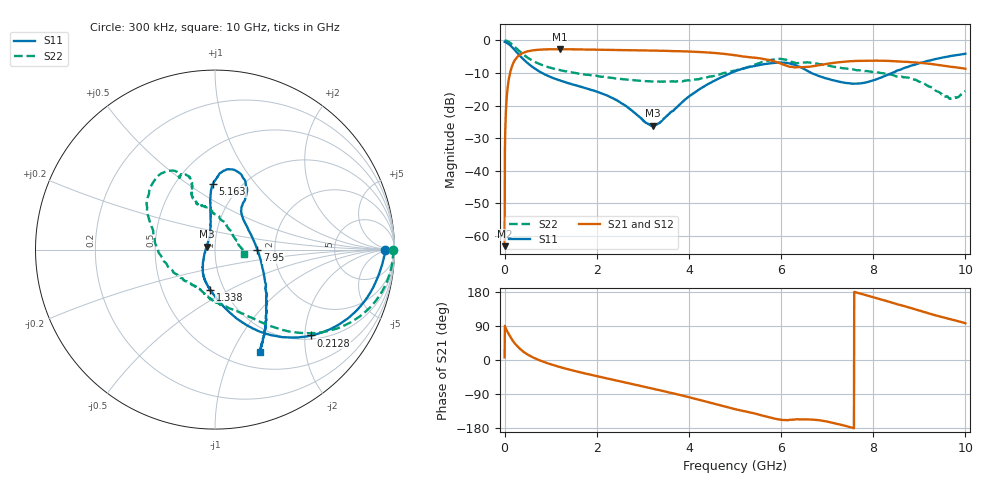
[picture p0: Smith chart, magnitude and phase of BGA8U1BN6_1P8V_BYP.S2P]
!Agilent Technologies,E5071C,MY46316587,B.13.01
!Date: Tue Nov 28 12:50:08 2017
!Data & Calibration Information:
!Freq	S11:SOLT2(ON)	S21:SOLT2(ON)	S12:SOLT2(ON)	S22:SOLT2(ON)
!PortZ  Port1:50+j0  Port2:50+j0
!Above PortZ is port z conversion or system Z0 setting when saving the data.
!When reading, reference impedance value at option line is always used.
# Hz S RI R 50
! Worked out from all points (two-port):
!   1601 points, 300 kHz to 10 GHz, reference 50 ohm
!   highest |S21| = -2.73 dB at 1.2 GHz (marker M1); lowest = -63.1 dB at 300 kHz (marker M2)
!   |S21| within 3 dB of the highest: 239.3 MHz to 5.613 GHz (5.374 GHz wide, 184 % of centre)
!   lowest |S11| = -26.2 dB at 3.225 GHz (marker M3), VSWR 1.10, Z = 45.5 + j1.42 ohm
!   |S11| at or under -10 dB: 810.5 MHz to 4.913 GHz (4.102 GHz wide, 143 % of centre); 6.654 GHz to 8.412 GHz (1.757 GHz wide, 23.3 % of centre)
!   |S22| runs from -18.0 to -0.1 dB; largest |S21 - S12| = 0.0097
!   S11 on the Smith chart (normalised r, x): 300 kHz: 36, -2; 212.8 MHz: 1.09, -2.15; 1.338 GHz: 0.86, -0.40; 5.163 GHz: 0.75, +0.63; 7.95 GHz: 1.62, -0.01; 10 GHz: 0.69, -1.28
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300000  0.9467 -0.00253  0.000696 8.49e-05  -0.000787 0.0019  0.9939 -0.00124
6.279812e7  0.8694 -0.2327  0.0475 0.1719  0.0479 0.1733  0.95 -0.1973
1.190464e8  0.7525 -0.3731  0.148 0.2795  0.1493 0.2819  0.8549 -0.3307
2.127936e8  0.5357 -0.4784  0.3403 0.3433  0.3416 0.3444  0.6674 -0.443
5.565333e8  0.1328 -0.3922  0.6794 0.1264  0.6804 0.1263  0.2912 -0.4188
1.200264e9  -0.0137 -0.2416  0.692 -0.2323  0.6914 -0.2308  0.1002 -0.3351
1.33776e9  -0.0268 -0.2234  0.6694 -0.2868  0.6701 -0.2843  0.0758 -0.3253
1.669e9  -0.0485 -0.1866  0.6051 -0.3972  0.6054 -0.3953  0.0273 -0.3048
2.406478e9  -0.0688 -0.1022  0.4225 -0.5727  0.4225 -0.5694  -0.0467 -0.2558
3.225203e9  -0.0465 0.0156  0.1684 -0.6743  0.1692 -0.6735  -0.0935 -0.2146
3.3377e9  -0.0416 0.0329  0.1322 -0.6809  0.1299 -0.6789  -0.1001 -0.2102
4.187674e9  -0.0247 0.1681  -0.1604 -0.644  -0.1616 -0.6447  -0.2067 -0.1433
5.00015e9  -0.0214 0.3337  -0.3762 -0.4536  -0.3764 -0.4539  -0.3366 0.0644
5.162645e9  -0.0108 0.367  -0.3948 -0.4067  -0.395 -0.407  -0.3462 0.1104
6.018869e9  0.1054 0.4447  -0.401 -0.1609  -0.402 -0.1593  -0.2833 0.4309
6.66885e9  0.1615 0.2676  -0.3672 -0.1543  -0.369 -0.1531  -0.1675 0.4176
7.406328e9  0.1709 0.1421  -0.4691 -0.0477  -0.4694 -0.0471  -0.1288 0.3465
7.950062e9  0.2365 -0.0018  -0.4762 0.1066  -0.4767 0.1069  -0.1297 0.3053
8.33755e9  0.2713 -0.1307  -0.434 0.2128  -0.4334 0.2146  -0.1173 0.2782
8.931282e9  0.2859 -0.3208  -0.3106 0.3342  -0.3138 0.3378  -0.0543 0.2405
9.68126e9  0.2664 -0.5097  -0.1176 0.3742  -0.1181 0.3763  0.1033 0.0741
1e10  0.2501 -0.5691  -0.0443 0.3638  -0.0421 0.3638  0.164 -0.0217
